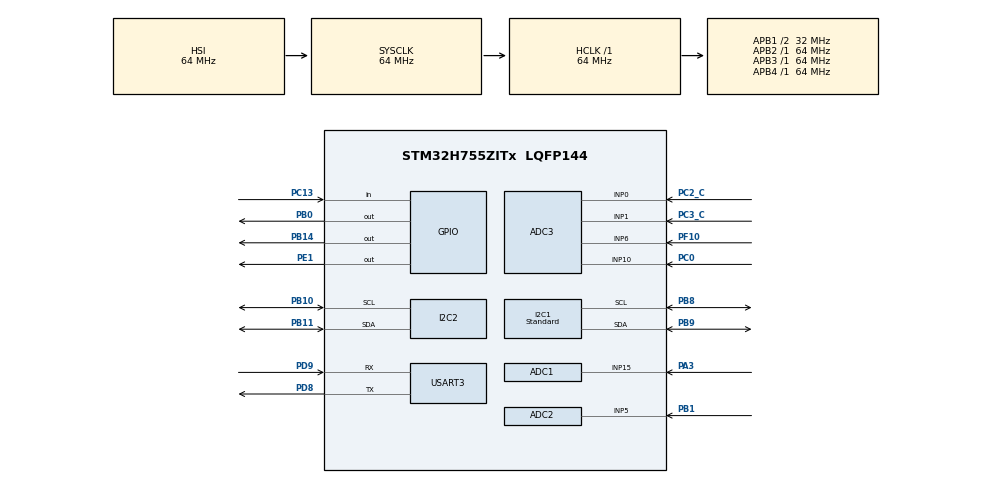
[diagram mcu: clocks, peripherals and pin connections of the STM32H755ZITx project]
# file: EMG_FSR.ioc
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ADC1.Channel-0\#ChannelRegularConversion=ADC_CHANNEL_15
ADC1.ClockPrescaler=ADC_CLOCK_ASYNC_DIV4
ADC1.ExternalTrigConv=ADC_EXTERNALTRIG_T6_TRGO
ADC1.NbrOfConversionFlag=1
ADC1.OffsetNumber-0\#ChannelRegularConversion=ADC_OFFSET_NONE
ADC1.OffsetSignedSaturation-0\#ChannelRegularConversion=DISABLE
ADC1.Rank-0\#ChannelRegularConversion=1
ADC1.Resolution=ADC_RESOLUTION_12B
ADC1.SamplingTime-0\#ChannelRegularConversion=ADC_SAMPLETIME_64CYCLES_5
ADC1.master=1
ADC2.Channel-1\#ChannelRegularConversion=ADC_CHANNEL_5
ADC2.ClockPrescaler=ADC_CLOCK_ASYNC_DIV4
ADC2.ConversionDataManagement=ADC_CONVERSIONDATA_DMA_CIRCULAR
ADC2.ExternalTrigConv=ADC_EXTERNALTRIG_T6_TRGO
ADC2.NbrOfConversionFlag=1
ADC2.OffsetNumber-1\#ChannelRegularConversion=ADC_OFFSET_NONE
ADC2.OffsetSignedSaturation-1\#ChannelRegularConversion=DISABLE
ADC2.Overrun=ADC_OVR_DATA_OVERWRITTEN
ADC2.Rank-1\#ChannelRegularConversion=1
ADC2.SamplingTime-1\#ChannelRegularConversion=ADC_SAMPLETIME_387CYCLES_5
ADC3.Channel-0\#ChannelRegularConversion=ADC_CHANNEL_10
ADC3.Channel-1\#ChannelRegularConversion=ADC_CHANNEL_1
ADC3.Channel-2\#ChannelRegularConversion=ADC_CHANNEL_0
ADC3.ClockPrescaler=ADC_CLOCK_ASYNC_DIV4
ADC3.ConversionDataManagement=ADC_CONVERSIONDATA_DMA_CIRCULAR
ADC3.ExternalTrigConv=ADC_EXTERNALTRIG_T6_TRGO
ADC3.NbrOfConversion=3
ADC3.NbrOfConversionFlag=1
ADC3.OffsetNumber-0\#ChannelRegularConversion=ADC_OFFSET_NONE
ADC3.OffsetNumber-1\#ChannelRegularConversion=ADC_OFFSET_NONE
ADC3.OffsetNumber-2\#ChannelRegularConversion=ADC_OFFSET_NONE
ADC3.OffsetSignedSaturation-0\#ChannelRegularConversion=DISABLE
ADC3.OffsetSignedSaturation-1\#ChannelRegularConversion=DISABLE
ADC3.OffsetSignedSaturation-2\#ChannelRegularConversion=DISABLE
ADC3.Overrun=ADC_OVR_DATA_OVERWRITTEN
ADC3.Rank-0\#ChannelRegularConversion=1
ADC3.Rank-1\#ChannelRegularConversion=2
ADC3.Rank-2\#ChannelRegularConversion=3
ADC3.SamplingTime-0\#ChannelRegularConversion=ADC_SAMPLETIME_387CYCLES_5
ADC3.SamplingTime-1\#ChannelRegularConversion=ADC_SAMPLETIME_387CYCLES_5
ADC3.SamplingTime-2\#ChannelRegularConversion=ADC_SAMPLETIME_387CYCLES_5
Bdma.ADC3.0.Direction=DMA_PERIPH_TO_MEMORY
Bdma.ADC3.0.EventEnable=DISABLE
Bdma.ADC3.0.Instance=BDMA_Channel0
Bdma.ADC3.0.MemDataAlignment=DMA_MDATAALIGN_HALFWORD
Bdma.ADC3.0.MemInc=DMA_MINC_ENABLE
Bdma.ADC3.0.Mode=DMA_CIRCULAR
Bdma.ADC3.0.PeriphDataAlignment=DMA_PDATAALIGN_HALFWORD
Bdma.ADC3.0.PeriphInc=DMA_PINC_DISABLE
Bdma.ADC3.0.Polarity=HAL_DMAMUX_REQ_GEN_RISING
Bdma.ADC3.0.Priority=DMA_PRIORITY_LOW
Bdma.ADC3.0.RequestNumber=1
Bdma.ADC3.0.SignalID=NONE
Bdma.ADC3.0.SyncEnable=DISABLE
Bdma.ADC3.0.SyncPolarity=HAL_DMAMUX_SYNC_NO_EVENT
Bdma.ADC3.0.SyncRequestNumber=1
Bdma.ADC3.0.SyncSignalID=NONE
Bdma.Request0=ADC3
Bdma.RequestsNb=1
CORTEX_M7.CPU_ICache=Enabled
CORTEX_M7.default_mode_Activation=1
CortexM4.IPs=CORTEX_M4\:I,FATFS_M4\:I,FREERTOS_M4\:I,IWDG2\:I,OPENAMP_M4\:I,PDM2PCM_M4\:I,PWR,RCC,RESMGR_UTILITY,SYS_M4\:I,USB_DEVICE_M4\:I,USB_HOST_M4\:I,VREFBUF,WWDG2\:I,GPIO,DMA,BDMA,MDMA,NVIC2\:I,TIM7
CortexM7.IPs=CORTEX_M7\:I,FATFS_M7\:I,FREERTOS_M7\:I,IWDG1\:I,OPENAMP_M7\:I,PDM2PCM_M7\:I,PWR\:I,RCC\:I,RESMGR_UTILITY\:I,SYS\:I,USB_DEVICE_M7\:I,USB_HOST_M7\:I,VREFBUF\:I,WWDG1\:I,GPIO\:I,DMA\:I,BDMA\:I,MDMA\:I,NVIC1\:I,ADC1\:I,ADC2\:I,ADC3\:I,USART3\:I,TIM6\:I,TIM7\:I,I2C1\:I,I2C2\:I
CortexM7.Pins=PC13,PB0,PB14,PE1
Dma.ADC2.0.Direction=DMA_PERIPH_TO_MEMORY
Dma.ADC2.0.EventEnable=DISABLE
Dma.ADC2.0.FIFOMode=DMA_FIFOMODE_DISABLE
Dma.ADC2.0.Instance=DMA1_Stream0
Dma.ADC2.0.MemDataAlignment=DMA_MDATAALIGN_HALFWORD
Dma.ADC2.0.MemInc=DMA_MINC_ENABLE
Dma.ADC2.0.Mode=DMA_CIRCULAR
Dma.ADC2.0.PeriphDataAlignment=DMA_PDATAALIGN_HALFWORD
Dma.ADC2.0.PeriphInc=DMA_PINC_DISABLE
Dma.ADC2.0.Polarity=HAL_DMAMUX_REQ_GEN_RISING
Dma.ADC2.0.Priority=DMA_PRIORITY_LOW
Dma.ADC2.0.RequestNumber=1
Dma.ADC2.0.SignalID=NONE
Dma.ADC2.0.SyncEnable=DISABLE
Dma.ADC2.0.SyncPolarity=HAL_DMAMUX_SYNC_NO_EVENT
Dma.ADC2.0.SyncRequestNumber=1
Dma.ADC2.0.SyncSignalID=NONE
Dma.Request0=ADC2
FREERTOS_M7.Tasks01=defaultTask,24,128,StartDefaultTask,Default,NULL,Dynamic,NULL,NULL
FREERTOS_M7.configUSE_NEWLIB_REENTRANT=1
I2C1.I2C_Speed_Mode=I2C_Standard
I2C1.Timing=0x00707CBB
I2C2.Timing=0x00707CBB
Mcu.Family=STM32H7
Mcu.Name=STM32H755ZITx
Mcu.Package=LQFP144
NVIC1.ADC3_IRQn=true\:5\:0\:false\:false\:true\:true\:true\:true\:true
NVIC1.ADC_IRQn=true\:6\:0\:true\:false\:true\:true\:true\:true\:true
NVIC1.BDMA_Channel0_IRQn=true\:5\:0\:false\:false\:true\:true\:false\:true\:true
NVIC1.DMA1_Stream0_IRQn=true\:5\:0\:false\:false\:true\:true\:false\:true\:true
NVIC1.I2C1_ER_IRQn=true\:5\:0\:false\:false\:true\:true\:true\:true\:true
NVIC1.I2C1_EV_IRQn=true\:5\:0\:false\:false\:true\:true\:true\:true\:true
NVIC1.I2C2_ER_IRQn=true\:5\:0\:false\:false\:true\:true\:true\:true\:true
NVIC1.I2C2_EV_IRQn=true\:5\:0\:false\:false\:true\:true\:true\:true\:true
NVIC1.PriorityGroup=NVIC_PRIORITYGROUP_4
NVIC1.TIM6_DAC_IRQn=true\:5\:0\:false\:false\:true\:true\:true\:true\:true
NVIC1.TIM7_IRQn=true\:15\:0\:false\:false\:true\:false\:false\:true\:true
NVIC1.TimeBase=TIM7_IRQn
NVIC1.TimeBaseIP=TIM7
NVIC2.PriorityGroup=NVIC_PRIORITYGROUP_4
PA3.PinAttribute=CortexM7
PA3.Signal=ADCx_INP15
PB0.PinAttribute=CortexM7
PB0.Signal=GPIO_Output
PB1.PinAttribute=CortexM7
PB1.Signal=ADCx_INP5
PB10.Mode=I2C
PB10.PinAttribute=CortexM7
PB10.Signal=I2C2_SCL
PB11.Mode=I2C
PB11.PinAttribute=CortexM7
PB11.Signal=I2C2_SDA
PB14.PinAttribute=CortexM7
PB14.Signal=GPIO_Output
PB8.Mode=I2C
PB8.PinAttribute=CortexM7
PB8.Signal=I2C1_SCL
PB9.Mode=I2C
PB9.PinAttribute=CortexM7
PB9.Signal=I2C1_SDA
PC0.PinAttribute=CortexM7
PC0.Signal=ADCx_INP10
PC13.PinAttribute=CortexM7
PC13.Signal=GPIO_Input
PC2_C.Mode=IN0-Single-Ended
PC2_C.PinAttribute=CortexM7
PC2_C.Signal=ADC3_INP0
PC3_C.Mode=IN1-Single-Ended
PC3_C.PinAttribute=CortexM7
PC3_C.Signal=ADC3_INP1
PD8.Mode=Asynchronous
PD8.PinAttribute=CortexM7
PD8.Signal=USART3_TX
PD9.Mode=Asynchronous
PD9.PinAttribute=CortexM7
PD9.Signal=USART3_RX
PE1.PinAttribute=CortexM7
PE1.Signal=GPIO_Output
PF10.Mode=IN6-Single-Ended
PF10.PinAttribute=CortexM7
PF10.Signal=ADC3_INP6
ProjectManager.HeapSize=M4-0x200,M7-0x200
ProjectManager.StackSize=M4-0x400,M7-0x400
ProjectManager.TargetToolchain=STM32CubeIDE
RCC.ADCFreq_Value=80000000
RCC.APB1Freq_Value=32000000
RCC.APB2Freq_Value=64000000
RCC.APB3Freq_Value=64000000
RCC.APB4Freq_Value=64000000
RCC.CortexFreq_Value=64000000
RCC.D2PPRE1=RCC_APB1_DIV2
RCC.DIVM2=4
RCC.DIVN2=10
RCC.HCLKFreq_Value=64000000
RCC.PLL2FRACN=0
RCC.SYSCLKFreq_VALUE=64000000
RCC.USBFreq_Value=129000000
SH.ADCx_INP10.0=ADC3_INP10,IN10-Single-Ended
SH.ADCx_INP15.0=ADC1_INP15,IN15-Single-Ended
SH.ADCx_INP5.0=ADC2_INP5,IN5-Single-Ended
SYS.userName=SYS_M7
TIM6.Period=499
TIM6.Prescaler=63
TIM6.TIM_MasterOutputTrigger=TIM_TRGO_UPDATE
USART3.VirtualMode-Asynchronous=VM_ASYNC
VP_FREERTOS_M7_VS_CMSIS_V2.Mode=CMSIS_V2
VP_SYS_M4_VS_Systick.Mode=SysTick
VP_SYS_VS_tim7.Mode=TIM7
VP_TIM6_VS_ClockSourceINT.Mode=Enable_Timer
board=custom

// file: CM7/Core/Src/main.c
/* USER CODE BEGIN Header */
/**
  ******************************************************************************
  * @file           : main.c
  * @brief          : Main program body
  ******************************************************************************
  * @attention
  *
  * Copyright (c) 2026 STMicroelectronics.
  * All rights reserved.
  *
  * This software is licensed under terms that can be found in the LICENSE file
  * in the root directory of this software component.
  * If no LICENSE file comes with this software, it is provided AS-IS.
  *
  ******************************************************************************
  */
/* USER CODE END Header */
#include "main.h"
#include "FreeRTOS.h"
#include "cmsis_os2.h"

/* USER CODE BEGIN Includes */
#include "myogrip.h"
/* USER CODE END Includes */

/* USER CODE BEGIN PD */

/* DUAL_CORE_BOOT_SYNC_SEQUENCE: Define for dual core boot synchronization    */
/*                             demonstration code based on hardware semaphore */
/* This define is present in both CM7/CM4 projects                            */
/* To comment when developping/debugging on a single core                     */
#define DUAL_CORE_BOOT_SYNC_SEQUENCE

#if defined(DUAL_CORE_BOOT_SYNC_SEQUENCE)
#ifndef HSEM_ID_0
#define HSEM_ID_0 (0U) /* HW semaphore 0*/
#endif
#endif /* DUAL_CORE_BOOT_SYNC_SEQUENCE */

/* USER CODE END PD */

ADC_HandleTypeDef hadc1;
ADC_HandleTypeDef hadc2;
ADC_HandleTypeDef hadc3;
DMA_HandleTypeDef hdma_adc2;
DMA_HandleTypeDef hdma_adc3;

I2C_HandleTypeDef hi2c1;
I2C_HandleTypeDef hi2c2;

TIM_HandleTypeDef htim6;

UART_HandleTypeDef huart3;

/* Definitions for defaultTask */
osThreadId_t defaultTaskHandle;
const osThreadAttr_t defaultTask_attributes = {
  .name = "defaultTask",
  .stack_size = 128 * 4,
  .priority = (osPriority_t) osPriorityNormal,
};

void SystemClock_Config(void);
void PeriphCommonClock_Config(void);
static void MPU_Config(void);
static void MX_GPIO_Init(void);
static void MX_BDMA_Init(void);
static void MX_DMA_Init(void);
static void MX_ADC1_Init(void);
static void MX_ADC3_Init(void);
static void MX_ADC2_Init(void);
static void MX_TIM6_Init(void);
static void MX_USART3_UART_Init(void);
static void MX_I2C1_Init(void);
static void MX_I2C2_Init(void);
void StartDefaultTask(void *argument);

int main(void)
{

/* USER CODE BEGIN Boot_Mode_Sequence_0 */
#if defined(DUAL_CORE_BOOT_SYNC_SEQUENCE)
  int32_t timeout;
#endif /* DUAL_CORE_BOOT_SYNC_SEQUENCE */
/* USER CODE END Boot_Mode_Sequence_0 */

  /* MPU Configuration--------------------------------------------------------*/
  MPU_Config();

  /* Enable the CPU Cache */

  /* Enable I-Cache---------------------------------------------------------*/
  SCB_EnableICache();

/* USER CODE BEGIN Boot_Mode_Sequence_1 */
#if defined(DUAL_CORE_BOOT_SYNC_SEQUENCE)
  /* Wait until CPU2 boots and enters in stop mode or timeout*/
  timeout = 0xFFFF;
  while((__HAL_RCC_GET_FLAG(RCC_FLAG_D2CKRDY) != RESET) && (timeout-- > 0));
  if ( timeout < 0 )
  {
  Error_Handler();
  }
#endif /* DUAL_CORE_BOOT_SYNC_SEQUENCE */
/* USER CODE END Boot_Mode_Sequence_1 */
  /* MCU Configuration--------------------------------------------------------*/

  /* Reset of all peripherals, Initializes the Flash interface and the Systick. */
  HAL_Init();

  /* Configure the system clock */
  SystemClock_Config();

  /* Configure the peripherals common clocks */
  PeriphCommonClock_Config();
/* USER CODE BEGIN Boot_Mode_Sequence_2 */
#if defined(DUAL_CORE_BOOT_SYNC_SEQUENCE)
/* When system initialization is finished, Cortex-M7 will release Cortex-M4 by means of
HSEM notification */
/*HW semaphore Clock enable*/
__HAL_RCC_HSEM_CLK_ENABLE();
/*Take HSEM */
HAL_HSEM_FastTake(HSEM_ID_0);
/*Release HSEM in order to notify the CPU2(CM4)*/
HAL_HSEM_Release(HSEM_ID_0,0);
/* wait until CPU2 wakes up from stop mode */
timeout = 0xFFFF;
while((__HAL_RCC_GET_FLAG(RCC_FLAG_D2CKRDY) == RESET) && (timeout-- > 0));
if ( timeout < 0 )
{
Error_Handler();
}
#endif /* DUAL_CORE_BOOT_SYNC_SEQUENCE */
/* USER CODE END Boot_Mode_Sequence_2 */

  /* Initialize all configured peripherals */
  MX_GPIO_Init();
  MX_BDMA_Init();
  MX_DMA_Init();
  MX_ADC1_Init();
  MX_ADC3_Init();
  MX_ADC2_Init();
  MX_TIM6_Init();
  MX_USART3_UART_Init();
  MX_I2C1_Init();
  MX_I2C2_Init();
  /* USER CODE BEGIN 2 */
  /* Revisa el IOC, fija TIM6 a 2 kHz, calibra ADC1/ADC2/ADC3 y arma los DMA del FSR.
     ADC_CALIB_OFFSET_LINEARITY es un parámetro, no una función: la calibración
     se hace dentro de MyoGrip_Init() con HAL_ADCEx_Calibration_Start(). */
  MyoGrip_Init();
  /* USER CODE END 2 */

  /* Init scheduler */
  osKernelInitialize();

  /* Create the thread(s) */
  /* creation of defaultTask */
  defaultTaskHandle = osThreadNew(StartDefaultTask, NULL, &defaultTask_attributes);

  /* USER CODE BEGIN RTOS_THREADS */
  /* Tareas EMG, FSR, Serial y UI (myogrip.c, fsr_task.c). */
  MyoGrip_CreateTasks();

  /* USER CODE END RTOS_THREADS */

  /* Start scheduler */
  osKernelStart();

  /* We should never get here as control is now taken by the scheduler */

  /* Infinite loop */
  while (1)
  {

  }
}

void SystemClock_Config(void)
{
  RCC_OscInitTypeDef RCC_OscInitStruct = {0};
  RCC_ClkInitTypeDef RCC_ClkInitStruct = {0};

  /** Supply configuration update enable
  */
  HAL_PWREx_ConfigSupply(PWR_DIRECT_SMPS_SUPPLY);

  /** Configure the main internal regulator output voltage
  */
  __HAL_PWR_VOLTAGESCALING_CONFIG(PWR_REGULATOR_VOLTAGE_SCALE3);

  while(!__HAL_PWR_GET_FLAG(PWR_FLAG_VOSRDY)) {}

  /** Macro to configure the PLL clock source
  */
  __HAL_RCC_PLL_PLLSOURCE_CONFIG(RCC_PLLSOURCE_HSI);

  /** Initializes the RCC Oscillators according to the specified parameters
  * in the RCC_OscInitTypeDef structure.
  */
  RCC_OscInitStruct.OscillatorType = RCC_OSCILLATORTYPE_HSI;
  RCC_OscInitStruct.HSIState = RCC_HSI_DIV1;
  RCC_OscInitStruct.HSICalibrationValue = RCC_HSICALIBRATION_DEFAULT;
  RCC_OscInitStruct.PLL.PLLState = RCC_PLL_NONE;
  if (HAL_RCC_OscConfig(&RCC_OscInitStruct) != HAL_OK)
  {
    Error_Handler();
  }

  /** Initializes the CPU, AHB and APB buses clocks
  */
  RCC_ClkInitStruct.ClockType = RCC_CLOCKTYPE_HCLK|RCC_CLOCKTYPE_SYSCLK
                              |RCC_CLOCKTYPE_PCLK1|RCC_CLOCKTYPE_PCLK2
                              |RCC_CLOCKTYPE_D3PCLK1|RCC_CLOCKTYPE_D1PCLK1;
  RCC_ClkInitStruct.SYSCLKSource = RCC_SYSCLKSOURCE_HSI;
  RCC_ClkInitStruct.SYSCLKDivider = RCC_SYSCLK_DIV1;
  RCC_ClkInitStruct.AHBCLKDivider = RCC_HCLK_DIV1;
  RCC_ClkInitStruct.APB3CLKDivider = RCC_APB3_DIV1;
  RCC_ClkInitStruct.APB1CLKDivider = RCC_APB1_DIV2;
  RCC_ClkInitStruct.APB2CLKDivider = RCC_APB2_DIV1;
  RCC_ClkInitStruct.APB4CLKDivider = RCC_APB4_DIV1;

  if (HAL_RCC_ClockConfig(&RCC_ClkInitStruct, FLASH_LATENCY_1) != HAL_OK)
  {
    Error_Handler();
  }
}

void PeriphCommonClock_Config(void)
{
  RCC_PeriphCLKInitTypeDef PeriphClkInitStruct = {0};

  /** Initializes the peripherals clock
  */
  PeriphClkInitStruct.PeriphClockSelection = RCC_PERIPHCLK_ADC;
  PeriphClkInitStruct.PLL2.PLL2M = 4;
  PeriphClkInitStruct.PLL2.PLL2N = 10;
  PeriphClkInitStruct.PLL2.PLL2P = 2;
  PeriphClkInitStruct.PLL2.PLL2Q = 2;
  PeriphClkInitStruct.PLL2.PLL2R = 2;
  PeriphClkInitStruct.PLL2.PLL2RGE = RCC_PLL2VCIRANGE_3;
  PeriphClkInitStruct.PLL2.PLL2VCOSEL = RCC_PLL2VCOMEDIUM;
  PeriphClkInitStruct.PLL2.PLL2FRACN = 0;
  PeriphClkInitStruct.AdcClockSelection = RCC_ADCCLKSOURCE_PLL2;
  if (HAL_RCCEx_PeriphCLKConfig(&PeriphClkInitStruct) != HAL_OK)
  {
    Error_Handler();
  }
}

static void MX_ADC1_Init(void)
{

  ADC_MultiModeTypeDef multimode = {0};
  ADC_ChannelConfTypeDef sConfig = {0};

  /** Common config
  */
  hadc1.Instance = ADC1;
  hadc1.Init.ClockPrescaler = ADC_CLOCK_ASYNC_DIV4;
  hadc1.Init.Resolution = ADC_RESOLUTION_12B;
  hadc1.Init.ScanConvMode = ADC_SCAN_DISABLE;
  hadc1.Init.EOCSelection = ADC_EOC_SINGLE_CONV;
  hadc1.Init.LowPowerAutoWait = DISABLE;
  hadc1.Init.ContinuousConvMode = DISABLE;
  hadc1.Init.NbrOfConversion = 1;
  hadc1.Init.DiscontinuousConvMode = DISABLE;
  hadc1.Init.ExternalTrigConv = ADC_EXTERNALTRIG_T6_TRGO;
  hadc1.Init.ExternalTrigConvEdge = ADC_EXTERNALTRIGCONVEDGE_RISING;
  hadc1.Init.ConversionDataManagement = ADC_CONVERSIONDATA_DR;
  hadc1.Init.Overrun = ADC_OVR_DATA_PRESERVED;
  hadc1.Init.LeftBitShift = ADC_LEFTBITSHIFT_NONE;
  hadc1.Init.OversamplingMode = DISABLE;
  hadc1.Init.Oversampling.Ratio = 1;
  if (HAL_ADC_Init(&hadc1) != HAL_OK)
  {
    Error_Handler();
  }

  /** Configure the ADC multi-mode
  */
  multimode.Mode = ADC_MODE_INDEPENDENT;
  if (HAL_ADCEx_MultiModeConfigChannel(&hadc1, &multimode) != HAL_OK)
  {
    Error_Handler();
  }

  /** Configure Regular Channel
  */
  sConfig.Channel = ADC_CHANNEL_15;
  sConfig.Rank = ADC_REGULAR_RANK_1;
  sConfig.SamplingTime = ADC_SAMPLETIME_64CYCLES_5;
  sConfig.SingleDiff = ADC_SINGLE_ENDED;
  sConfig.OffsetNumber = ADC_OFFSET_NONE;
  sConfig.Offset = 0;
  sConfig.OffsetSignedSaturation = DISABLE;
  if (HAL_ADC_ConfigChannel(&hadc1, &sConfig) != HAL_OK)
  {
    Error_Handler();
  }

}

static void MX_ADC2_Init(void)
{

  ADC_ChannelConfTypeDef sConfig = {0};

  /** Common config
  */
  hadc2.Instance = ADC2;
  hadc2.Init.ClockPrescaler = ADC_CLOCK_ASYNC_DIV4;
  hadc2.Init.Resolution = ADC_RESOLUTION_16B;
  hadc2.Init.ScanConvMode = ADC_SCAN_DISABLE;
  hadc2.Init.EOCSelection = ADC_EOC_SINGLE_CONV;
  hadc2.Init.LowPowerAutoWait = DISABLE;
  hadc2.Init.ContinuousConvMode = DISABLE;
  hadc2.Init.NbrOfConversion = 1;
  hadc2.Init.DiscontinuousConvMode = DISABLE;
  hadc2.Init.ExternalTrigConv = ADC_EXTERNALTRIG_T6_TRGO;
  hadc2.Init.ExternalTrigConvEdge = ADC_EXTERNALTRIGCONVEDGE_RISING;
  hadc2.Init.ConversionDataManagement = ADC_CONVERSIONDATA_DMA_CIRCULAR;
  hadc2.Init.Overrun = ADC_OVR_DATA_OVERWRITTEN;
  hadc2.Init.LeftBitShift = ADC_LEFTBITSHIFT_NONE;
  hadc2.Init.OversamplingMode = DISABLE;
  hadc2.Init.Oversampling.Ratio = 1;
  if (HAL_ADC_Init(&hadc2) != HAL_OK)
  {
    Error_Handler();
  }

  /** Configure Regular Channel
  */
  sConfig.Channel = ADC_CHANNEL_5;
  sConfig.Rank = ADC_REGULAR_RANK_1;
  sConfig.SamplingTime = ADC_SAMPLETIME_387CYCLES_5;
  sConfig.SingleDiff = ADC_SINGLE_ENDED;
  sConfig.OffsetNumber = ADC_OFFSET_NONE;
  sConfig.Offset = 0;
  sConfig.OffsetSignedSaturation = DISABLE;
  if (HAL_ADC_ConfigChannel(&hadc2, &sConfig) != HAL_OK)
  {
    Error_Handler();
  }

}

static void MX_ADC3_Init(void)
{

  ADC_ChannelConfTypeDef sConfig = {0};

  /** Common config
  */
  hadc3.Instance = ADC3;
  hadc3.Init.ClockPrescaler = ADC_CLOCK_ASYNC_DIV2;
  hadc3.Init.ScanConvMode = ADC_SCAN_ENABLE;
  hadc3.Init.EOCSelection = ADC_EOC_SINGLE_CONV;
  hadc3.Init.LowPowerAutoWait = DISABLE;
  hadc3.Init.ContinuousConvMode = DISABLE;
  hadc3.Init.NbrOfConversion = 3;
  hadc3.Init.DiscontinuousConvMode = DISABLE;
  hadc3.Init.ExternalTrigConv = ADC_EXTERNALTRIG_T6_TRGO;
  hadc3.Init.ExternalTrigConvEdge = ADC_EXTERNALTRIGCONVEDGE_RISING;
  hadc3.Init.ConversionDataManagement = ADC_CONVERSIONDATA_DMA_CIRCULAR;
  hadc3.Init.Overrun = ADC_OVR_DATA_OVERWRITTEN;
  hadc3.Init.LeftBitShift = ADC_LEFTBITSHIFT_NONE;
  hadc3.Init.OversamplingMode = DISABLE;
  hadc3.Init.Oversampling.Ratio = 1;
  if (HAL_ADC_Init(&hadc3) != HAL_OK)
  {
    Error_Handler();
  }
  hadc3.Init.ClockPrescaler = ADC_CLOCK_ASYNC_DIV4;
  hadc3.Init.Resolution = ADC_RESOLUTION_16B;
  if (HAL_ADC_Init(&hadc3) != HAL_OK)
  {
    Error_Handler();
  }

  /** Configure Regular Channel
  */
  sConfig.Channel = ADC_CHANNEL_10;
  sConfig.Rank = ADC_REGULAR_RANK_1;
  sConfig.SamplingTime = ADC_SAMPLETIME_387CYCLES_5;
  sConfig.SingleDiff = ADC_SINGLE_ENDED;
  sConfig.OffsetNumber = ADC_OFFSET_NONE;
  sConfig.Offset = 0;
  sConfig.OffsetSignedSaturation = DISABLE;
  if (HAL_ADC_ConfigChannel(&hadc3, &sConfig) != HAL_OK)
  {
    Error_Handler();
  }

  /** Configure Regular Channel
  */
  sConfig.Channel = ADC_CHANNEL_1;
  sConfig.Rank = ADC_REGULAR_RANK_2;
  if (HAL_ADC_ConfigChannel(&hadc3, &sConfig) != HAL_OK)
  {
    Error_Handler();
  }

  /** Configure Regular Channel
  */
  sConfig.Channel = ADC_CHANNEL_0;
  sConfig.Rank = ADC_REGULAR_RANK_3;
  if (HAL_ADC_ConfigChannel(&hadc3, &sConfig) != HAL_OK)
  {
    Error_Handler();
  }

}

static void MX_I2C1_Init(void)
{

  hi2c1.Instance = I2C1;
  hi2c1.Init.Timing = 0x00707CBB;
  hi2c1.Init.OwnAddress1 = 0;
  hi2c1.Init.AddressingMode = I2C_ADDRESSINGMODE_7BIT;
  hi2c1.Init.DualAddressMode = I2C_DUALADDRESS_DISABLE;
  hi2c1.Init.OwnAddress2 = 0;
  hi2c1.Init.OwnAddress2Masks = I2C_OA2_NOMASK;
  hi2c1.Init.GeneralCallMode = I2C_GENERALCALL_DISABLE;
  hi2c1.Init.NoStretchMode = I2C_NOSTRETCH_DISABLE;
  if (HAL_I2C_Init(&hi2c1) != HAL_OK)
  {
    Error_Handler();
  }

  /** Configure Analogue filter
  */
  if (HAL_I2CEx_ConfigAnalogFilter(&hi2c1, I2C_ANALOGFILTER_ENABLE) != HAL_OK)
  {
    Error_Handler();
  }

  /** Configure Digital filter
  */
  if (HAL_I2CEx_ConfigDigitalFilter(&hi2c1, 0) != HAL_OK)
  {
    Error_Handler();
  }

}

static void MX_I2C2_Init(void)
{

  hi2c2.Instance = I2C2;
  hi2c2.Init.Timing = 0x00707CBB;
  hi2c2.Init.OwnAddress1 = 0;
  hi2c2.Init.AddressingMode = I2C_ADDRESSINGMODE_7BIT;
  hi2c2.Init.DualAddressMode = I2C_DUALADDRESS_DISABLE;
  hi2c2.Init.OwnAddress2 = 0;
  hi2c2.Init.OwnAddress2Masks = I2C_OA2_NOMASK;
  hi2c2.Init.GeneralCallMode = I2C_GENERALCALL_DISABLE;
  hi2c2.Init.NoStretchMode = I2C_NOSTRETCH_DISABLE;
  if (HAL_I2C_Init(&hi2c2) != HAL_OK)
  {
    Error_Handler();
  }

  /** Configure Analogue filter
  */
  if (HAL_I2CEx_ConfigAnalogFilter(&hi2c2, I2C_ANALOGFILTER_ENABLE) != HAL_OK)
  {
    Error_Handler();
  }

  /** Configure Digital filter
  */
  if (HAL_I2CEx_ConfigDigitalFilter(&hi2c2, 0) != HAL_OK)
  {
    Error_Handler();
  }

}

static void MX_TIM6_Init(void)
{

  TIM_MasterConfigTypeDef sMasterConfig = {0};

  htim6.Instance = TIM6;
  htim6.Init.Prescaler = 63;
  htim6.Init.CounterMode = TIM_COUNTERMODE_UP;
  htim6.Init.Period = 499;
  htim6.Init.AutoReloadPreload = TIM_AUTORELOAD_PRELOAD_DISABLE;
  if (HAL_TIM_Base_Init(&htim6) != HAL_OK)
  {
    Error_Handler();
  }
  sMasterConfig.MasterOutputTrigger = TIM_TRGO_UPDATE;
  sMasterConfig.MasterSlaveMode = TIM_MASTERSLAVEMODE_DISABLE;
  if (HAL_TIMEx_MasterConfigSynchronization(&htim6, &sMasterConfig) != HAL_OK)
  {
    Error_Handler();
  }

}

static void MX_USART3_UART_Init(void)
{

  huart3.Instance = USART3;
  huart3.Init.BaudRate = 115200;
  huart3.Init.WordLength = UART_WORDLENGTH_8B;
  huart3.Init.StopBits = UART_STOPBITS_1;
  huart3.Init.Parity = UART_PARITY_NONE;
  huart3.Init.Mode = UART_MODE_TX_RX;
  huart3.Init.HwFlowCtl = UART_HWCONTROL_NONE;
  huart3.Init.OverSampling = UART_OVERSAMPLING_16;
  huart3.Init.OneBitSampling = UART_ONE_BIT_SAMPLE_DISABLE;
  huart3.Init.ClockPrescaler = UART_PRESCALER_DIV1;
  huart3.AdvancedInit.AdvFeatureInit = UART_ADVFEATURE_NO_INIT;
  if (HAL_UART_Init(&huart3) != HAL_OK)
  {
    Error_Handler();
  }
  if (HAL_UARTEx_SetTxFifoThreshold(&huart3, UART_TXFIFO_THRESHOLD_1_8) != HAL_OK)
  {
    Error_Handler();
  }
  if (HAL_UARTEx_SetRxFifoThreshold(&huart3, UART_RXFIFO_THRESHOLD_1_8) != HAL_OK)
  {
    Error_Handler();
  }
  if (HAL_UARTEx_DisableFifoMode(&huart3) != HAL_OK)
  {
    Error_Handler();
  }

}

static void MX_BDMA_Init(void)
{

  /* DMA controller clock enable */
  __HAL_RCC_BDMA_CLK_ENABLE();

  /* DMA interrupt init */
  /* BDMA_Channel0_IRQn interrupt configuration */
  HAL_NVIC_SetPriority(BDMA_Channel0_IRQn, 5, 0);
  HAL_NVIC_EnableIRQ(BDMA_Channel0_IRQn);

}

static void MX_DMA_Init(void)
{

  /* DMA controller clock enable */
  __HAL_RCC_DMA1_CLK_ENABLE();

  /* DMA interrupt init */
  /* DMA1_Stream0_IRQn interrupt configuration */
  HAL_NVIC_SetPriority(DMA1_Stream0_IRQn, 5, 0);
  HAL_NVIC_EnableIRQ(DMA1_Stream0_IRQn);

}

static void MX_GPIO_Init(void)
{
  GPIO_InitTypeDef GPIO_InitStruct = {0};

  /* GPIO Ports Clock Enable */
  __HAL_RCC_GPIOC_CLK_ENABLE();
  __HAL_RCC_GPIOF_CLK_ENABLE();
  __HAL_RCC_GPIOA_CLK_ENABLE();
  __HAL_RCC_GPIOB_CLK_ENABLE();
  __HAL_RCC_GPIOD_CLK_ENABLE();
  __HAL_RCC_GPIOE_CLK_ENABLE();

  /*Configure GPIO pin Output Level */
  HAL_GPIO_WritePin(GPIOB, GPIO_PIN_0|GPIO_PIN_14, GPIO_PIN_RESET);

  /*Configure GPIO pin Output Level */
  HAL_GPIO_WritePin(GPIOE, GPIO_PIN_1, GPIO_PIN_RESET);

  /*Configure GPIO pin : PC13 */
  GPIO_InitStruct.Pin = GPIO_PIN_13;
  GPIO_InitStruct.Mode = GPIO_MODE_INPUT;
  GPIO_InitStruct.Pull = GPIO_NOPULL;
  HAL_GPIO_Init(GPIOC, &GPIO_InitStruct);

  /*Configure GPIO pins : PB0 PB14 */
  GPIO_InitStruct.Pin = GPIO_PIN_0|GPIO_PIN_14;
  GPIO_InitStruct.Mode = GPIO_MODE_OUTPUT_PP;
  GPIO_InitStruct.Pull = GPIO_NOPULL;
  GPIO_InitStruct.Speed = GPIO_SPEED_FREQ_LOW;
  HAL_GPIO_Init(GPIOB, &GPIO_InitStruct);

  /*Configure GPIO pin : PE1 */
  GPIO_InitStruct.Pin = GPIO_PIN_1;
  GPIO_InitStruct.Mode = GPIO_MODE_OUTPUT_PP;
  GPIO_InitStruct.Pull = GPIO_NOPULL;
  GPIO_InitStruct.Speed = GPIO_SPEED_FREQ_LOW;
  HAL_GPIO_Init(GPIOE, &GPIO_InitStruct);

}

void StartDefaultTask(void *argument)
{
  /* USER CODE BEGIN 5 */
  /* No se usa: las tareas reales las crea MyoGrip_CreateTasks(). Se borra a sí
     misma y el idle libera su memoria. Se puede quitar del IOC (FreeRTOS > Tasks). */
  (void)argument;
  osThreadExit();
  /* USER CODE END 5 */
}

 /* MPU Configuration */

void MPU_Config(void)
{
  MPU_Region_InitTypeDef MPU_InitStruct = {0};

  /* Disables the MPU */
  HAL_MPU_Disable();

  /** Initializes and configures the Region and the memory to be protected
  */
  MPU_InitStruct.Enable = MPU_REGION_ENABLE;
  MPU_InitStruct.Number = MPU_REGION_NUMBER0;
  MPU_InitStruct.BaseAddress = 0x0;
  MPU_InitStruct.Size = MPU_REGION_SIZE_4GB;
  MPU_InitStruct.SubRegionDisable = 0x87;
  MPU_InitStruct.TypeExtField = MPU_TEX_LEVEL0;
  MPU_InitStruct.AccessPermission = MPU_REGION_NO_ACCESS;
  MPU_InitStruct.DisableExec = MPU_INSTRUCTION_ACCESS_DISABLE;
  MPU_InitStruct.IsShareable = MPU_ACCESS_SHAREABLE;
  MPU_InitStruct.IsCacheable = MPU_ACCESS_NOT_CACHEABLE;
  MPU_InitStruct.IsBufferable = MPU_ACCESS_NOT_BUFFERABLE;

  HAL_MPU_ConfigRegion(&MPU_InitStruct);
  /* Enables the MPU */
  HAL_MPU_Enable(MPU_PRIVILEGED_DEFAULT);

}

void HAL_TIM_PeriodElapsedCallback(TIM_HandleTypeDef *htim)
{
  if (htim->Instance == TIM7)
  {
    HAL_IncTick();
  }
}

void Error_Handler(void)
{
  /* USER CODE BEGIN Error_Handler_Debug */
  /* LED rojo fijo = error de HAL o de FreeRTOS. Funciona aunque falle antes de MX_GPIO_Init. */
  __disable_irq();
  __HAL_RCC_GPIOB_CLK_ENABLE();
  GPIO_InitTypeDef g = {0};
  g.Pin = GPIO_PIN_14;
  g.Mode = GPIO_MODE_OUTPUT_PP;
  HAL_GPIO_Init(GPIOB, &g);
  HAL_GPIO_WritePin(GPIOB, GPIO_PIN_14, GPIO_PIN_SET);
  while (1)
  {
  }
  /* USER CODE END Error_Handler_Debug */
}
